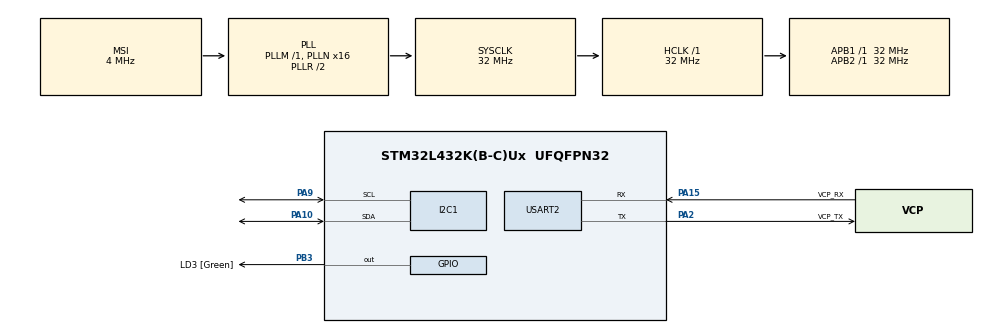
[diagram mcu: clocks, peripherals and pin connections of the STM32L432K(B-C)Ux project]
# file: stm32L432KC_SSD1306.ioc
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I2C1.Timing=0x00707CBB
Mcu.Family=STM32L4
Mcu.Name=STM32L432K(B-C)Ux
Mcu.Package=UFQFPN32
NVIC.PriorityGroup=NVIC_PRIORITYGROUP_4
PA0.GPIO_Label=MCO [High speed clock in]
PA0.Mode=HSE-External-Clock-Source-for-LittleOrca
PA0.Signal=RCC_CK_IN
PA10.Mode=I2C
PA10.Signal=I2C1_SDA
PA13\ (JTMS-SWDIO).GPIO_Label=SWDIO
PA13\ (JTMS-SWDIO).Mode=Serial_Wire
PA13\ (JTMS-SWDIO).Signal=SYS_JTMS-SWDIO
PA14\ (JTCK-SWCLK).GPIO_Label=SWCLK
PA14\ (JTCK-SWCLK).Mode=Serial_Wire
PA14\ (JTCK-SWCLK).Signal=SYS_JTCK-SWCLK
PA15\ (JTDI).GPIO_Label=VCP_RX
PA15\ (JTDI).Mode=Asynchronous
PA15\ (JTDI).Signal=USART2_RX
PA2.GPIO_Label=VCP_TX
PA2.Mode=Asynchronous
PA2.Signal=USART2_TX
PA9.Mode=I2C
PA9.Signal=I2C1_SCL
PB3\ (JTDO-TRACESWO).GPIO_Label=LD3 [Green]
PB3\ (JTDO-TRACESWO).Signal=GPIO_Output
PC14-OSC32_IN\ (PC14).Mode=LSE-External-Oscillator
PC14-OSC32_IN\ (PC14).Signal=RCC_OSC32_IN
PC15-OSC32_OUT\ (PC15).Mode=LSE-External-Oscillator
PC15-OSC32_OUT\ (PC15).Signal=RCC_OSC32_OUT
ProjectManager.HeapSize=0x200
ProjectManager.StackSize=0x400
ProjectManager.TargetToolchain=STM32CubeIDE
RCC.AHBFreq_Value=32000000
RCC.APB1Freq_Value=32000000
RCC.APB1TimFreq_Value=32000000
RCC.APB2Freq_Value=32000000
RCC.APB2TimFreq_Value=32000000
RCC.CortexFreq_Value=32000000
RCC.HCLKFreq_Value=32000000
RCC.HSE_VALUE=8000000
RCC.HSI16_VALUE=16000000
RCC.HSI48_VALUE=48000000
RCC.HSI_VALUE=16000000
RCC.MSI_VALUE=4000000
RCC.PLLMUL=RCC_PLLMUL_4
RCC.PLLN=16
RCC.SYSCLKFreq_VALUE=32000000
RCC.SYSCLKSource=RCC_SYSCLKSOURCE_PLLCLK
RCC.VCOOutputFreq_Value=64000000
USART2.VirtualMode-Asynchronous=VM_ASYNC
board=NUCLEO-L432KC

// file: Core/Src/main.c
/* USER CODE BEGIN Header */
/**
  ******************************************************************************
  * @file           : main.c
  * @brief          : Main program body
  ******************************************************************************
  * @attention
  *
  * <h2><center>&copy; Copyright (c) 2020 STMicroelectronics.
  * All rights reserved.</center></h2>
  *
  * This software component is licensed by ST under BSD 3-Clause license,
  * the "License"; You may not use this file except in compliance with the
  * License. You may obtain a copy of the License at:
  *                        opensource.org/licenses/BSD-3-Clause
  *
  ******************************************************************************
  */
/* USER CODE END Header */

#include <ssd1306_tests.h>
#include <ssd1306.h>
#include "main.h"
#include <stdbool.h>
/* USER CODE BEGIN Includes */
#include <string.h>
#include <stdio.h>
/* USER CODE END Includes */

/* USER CODE BEGIN PTD */
typedef struct{
	int height = 4;
	int width = 1;
    bool arrayBrick[height][width] = {{1,1,1,1}};
    char xCoordUnderBrick; //TrackHeight Of bottom of brick
    char yCoordLeftBrick; //Tack ypos of brick from lest side
    char rotation; //0X00=>0°  0X01=>90°  0X02=>180°  0X03=>270°
} line;

typedef struct{
	int height = 2;
	int width = 2;
	bool arrayBrick[height][width] = {{1,1}
    		                         ,{1,1}};
    char xCoordUnderBrick; //TrackHeight Of bottom of brick
    char yCoordLeftBrick; //Tack ypos of brick from lest side
    char rotation; //0X00=>0°  0X01=>90°  0X02=>180°  0X03=>270°
} square;

typedef struct{
	int height = 2;
	int width = 3;
	bool arrayBrick[height][width] = {{1,1,1}
                                     ,{0,1,0}};
    char xCoordUnderBrick; //TrackHeight Of bottom of brick
    char yCoordLeftBrick; //Tack ypos of brick from lest side
    char rotation; //0X00=>0°  0X01=>90°  0X02=>180°  0X03=>270°
} tbrick;

typedef struct{
	int height = 3;
	int width = 2;
	bool arrayBrick[height][width] = {{1,0}
    		                         ,{1,0}
                                     ,{1,1}};
    char xCoordUnderBrick; //TrackHeight Of bootom of brick
    char yCoordLeftBrick; //Tack ypos of brick from lest side
    char rotation; //0X00=>0°  0X01=>90°  0X02=>180°  0X03=>270°
} lbrick;

typedef struct{
	int height = 3;
	int width = 2;
	bool arrayBrick[height][width] = {{1,0}
    		                         ,{1,1}
                                     ,{0,1}};
    char xCoordUnderBrick; //Track Height Of bottom of brick
    char yCoordLeftBrick; //Tack ypos of brick from lest side
    char rotation; //0X00=>0°  0X01=>90°  0X02=>180°  0X03=>270°
} blitzbrick;

typedef struct{
	int bufferheight = 4;

	int height = 16 + bufferheight;
	int width = 8;
	int score = 0;
	bool playingfield[height][width] = {{0,0,0,0,0,0,0,0}  //BUFF
                                       ,{0,0,0,0,0,0,0,0}  //BUFF
                                       ,{0,0,0,0,0,0,0,0}  //BUFF
                                       ,{0,0,0,0,0,0,0,0}  //BUFF
	                                   ,{0,0,0,0,0,0,0,0}  //1
    		                           ,{0,0,0,0,0,0,0,0}  //2
                                       ,{0,0,0,0,0,0,0,0}  //3
                                       ,{0,0,0,0,0,0,0,0}  //4
	                                   ,{0,0,0,0,0,0,0,0}  //5
	                                   ,{0,0,0,0,0,0,0,0}  //6
	                                   ,{0,0,0,0,0,0,0,0}  //6
	                                   ,{0,0,0,0,0,0,0,0}  //7
	                                   ,{0,0,0,0,0,0,0,0}  //8
	                                   ,{0,0,0,0,0,0,0,0}  //9
	                                   ,{0,0,0,0,0,0,0,0}  //10
	                                   ,{0,0,0,0,0,0,0,0}  //11
		                               ,{0,0,0,0,0,0,0,0}  //12
		                               ,{0,0,0,0,0,0,0,0}  //13
		                               ,{0,0,0,0,0,0,0,0}  //14
		                               ,{0,0,0,0,0,0,0,0}  //15
		                               ,{0,0,0,0,0,0,0,0}};//16

	//For when block is beoing placed (has to do with die checking)
	bool ghostBlockField[height][width] = {{0,0,0,0,0,0,0,0}  //BUFF
                                          ,{0,0,0,0,0,0,0,0}  //BUFF
                                          ,{0,0,0,0,0,0,0,0}  //BUFF
                                          ,{0,0,0,0,0,0,0,0}  //BUFF
	                                      ,{0,0,0,0,0,0,0,0}  //1
    		                              ,{0,0,0,0,0,0,0,0}  //2
                                          ,{0,0,0,0,0,0,0,0}  //3
                                          ,{0,0,0,0,0,0,0,0}  //4
	                                      ,{0,0,0,0,0,0,0,0}  //5
	                                      ,{0,0,0,0,0,0,0,0}  //6
	                                      ,{0,0,0,0,0,0,0,0}  //6
	                                      ,{0,0,0,0,0,0,0,0}  //7
	                                      ,{0,0,0,0,0,0,0,0}  //8
	                                      ,{0,0,0,0,0,0,0,0}  //9
	                                      ,{0,0,0,0,0,0,0,0}  //10
	                                      ,{0,0,0,0,0,0,0,0}  //11
		                                  ,{0,0,0,0,0,0,0,0}  //12
		                                  ,{0,0,0,0,0,0,0,0}  //13
		                                  ,{0,0,0,0,0,0,0,0}  //14
		                                  ,{0,0,0,0,0,0,0,0}  //15
		                                  ,{0,0,0,0,0,0,0,0}};//16
} tetrisgame;
/* USER CODE END PTD */

/* USER CODE BEGIN PD */
#define SSD1306_USE_I2C
#define __DEBUG 1
#define BUFFERSIZE 100
#define I2CBUF	12
#define debug_print(x) 	do { if ( __DEBUG ) { strcpy(uartBuffer, x); HAL_UART_Transmit(&huart2, (unsigned char*) uartBuffer, strlen(uartBuffer), HAL_MAX_DELAY); }} while (0)
/* USER CODE END PD */

I2C_HandleTypeDef hi2c1;

UART_HandleTypeDef huart2;

/* USER CODE BEGIN PV */
const uint8_t SSD1306_ADDRESS = 0x3C << 1;
const uint8_t RANDOM_REG = 0x0F;

char uartBuffer[BUFFERSIZE] = "";
uint8_t I2CBuffer[I2CBUF] = {0};
HAL_StatusTypeDef returnValue = 0;

/* USER CODE END PV */

void SystemClock_Config(void);
static void MX_GPIO_Init(void);
static void MX_USART2_UART_Init(void);
static void MX_I2C1_Init(void);

int* checkline(tetrisgame);
bool checkdead(tetrisgame);

//Deze twee werken in conjunctie samen
void dropblock(tetrisgame);
void placeblock(tetrisgame);

void newblock(tetrisgame);

/* USER CODE BEGIN 0 */
void init() {
	//ssd1306_TestAll();
}
/* USER CODE END 0 */

int main(void)
{
  /* USER CODE BEGIN 1 */
	bool die = false;
	int verticalMovement = 0;
	int horizontalMovement = 0;
	char delayTime = 0; // variable for the delaytime ---> affects falling of blocks
  /* USER CODE END 1 */

  /* MCU Configuration--------------------------------------------------------*/

  /* Reset of all peripherals, Initializes the Flash interface and the Systick. */
  HAL_Init();

  /* Configure the system clock */
  SystemClock_Config();

  /* Initialize all configured peripherals */
  MX_GPIO_Init();
  MX_USART2_UART_Init();
  MX_I2C1_Init();

  /* Infinite loop */
  /* USER CODE BEGIN WHILE */
  //debug_print("Hello from STM32L432KC dev board\r\n");
  ssd1306_Init();
  //init();

      while (die=!true)
  	  {
    /* USER CODE END WHILE */

	  int verticalMovement += 10;// still needs adjusting
    /* USER CODE BEGIN 3 */
	    ssd1306_Fill(Black);
	    ssd1306_SetCursor(verticalMovement, horizontalMovement);
	    HAL_Delay(delayTime);
	    ssd1306_WriteString("[HIP,HIP]", Font_16x26, White);
	//HAL_Delay(500);
  	  }
  	  if(die == true)
  	  {

	  ssd1306_Fill(Black);

	  ssd1306_WriteString("[YOU DIED, RETURNING TO BONFIRE]", Font_16x26, White);

  	  }
  /* USER CODE END 3 */
	}

int* checkline(tetrisgame t*) {    //Error in deze lijn (yet to fix) (It's late =( )
	int linesCount = 0;
	static int lines[4]; //MaxLines met een block is 4

	for(int y = 0; i <= (&t->height)-1-bufferheight; y++) {
		for(int x = 0; i <= (&t->width)-1; x++) {
			if(&t->playingfield[x][y] == 0) { break; }
			else if (x == 7) {lines[linescount] = y; linesCount++;}
		}
	}
	return lines;
}

bool checkdead(tetrisgame t*) {    //same error
	for(int x = 0; i <= (&t->width)-1; x++) {
		if(&t->playingfield[x][15] == 1) { return 1;}
	}
	return 0;
}

void SystemClock_Config(void)
{
  RCC_OscInitTypeDef RCC_OscInitStruct = {0};
  RCC_ClkInitTypeDef RCC_ClkInitStruct = {0};
  RCC_PeriphCLKInitTypeDef PeriphClkInit = {0};

  /** Configure LSE Drive Capability
  */
  HAL_PWR_EnableBkUpAccess();
  __HAL_RCC_LSEDRIVE_CONFIG(RCC_LSEDRIVE_LOW);
  /** Initializes the CPU, AHB and APB busses clocks
  */
  RCC_OscInitStruct.OscillatorType = RCC_OSCILLATORTYPE_LSE|RCC_OSCILLATORTYPE_MSI;
  RCC_OscInitStruct.LSEState = RCC_LSE_ON;
  RCC_OscInitStruct.MSIState = RCC_MSI_ON;
  RCC_OscInitStruct.MSICalibrationValue = 0;
  RCC_OscInitStruct.MSIClockRange = RCC_MSIRANGE_6;
  RCC_OscInitStruct.PLL.PLLState = RCC_PLL_ON;
  RCC_OscInitStruct.PLL.PLLSource = RCC_PLLSOURCE_MSI;
  RCC_OscInitStruct.PLL.PLLM = 1;
  RCC_OscInitStruct.PLL.PLLN = 16;
  RCC_OscInitStruct.PLL.PLLP = RCC_PLLP_DIV7;
  RCC_OscInitStruct.PLL.PLLQ = RCC_PLLQ_DIV2;
  RCC_OscInitStruct.PLL.PLLR = RCC_PLLR_DIV2;
  if (HAL_RCC_OscConfig(&RCC_OscInitStruct) != HAL_OK)
  {
    Error_Handler();
  }
  /** Initializes the CPU, AHB and APB busses clocks
  */
  RCC_ClkInitStruct.ClockType = RCC_CLOCKTYPE_HCLK|RCC_CLOCKTYPE_SYSCLK
                              |RCC_CLOCKTYPE_PCLK1|RCC_CLOCKTYPE_PCLK2;
  RCC_ClkInitStruct.SYSCLKSource = RCC_SYSCLKSOURCE_PLLCLK;
  RCC_ClkInitStruct.AHBCLKDivider = RCC_SYSCLK_DIV1;
  RCC_ClkInitStruct.APB1CLKDivider = RCC_HCLK_DIV1;
  RCC_ClkInitStruct.APB2CLKDivider = RCC_HCLK_DIV1;

  if (HAL_RCC_ClockConfig(&RCC_ClkInitStruct, FLASH_LATENCY_1) != HAL_OK)
  {
    Error_Handler();
  }
  PeriphClkInit.PeriphClockSelection = RCC_PERIPHCLK_USART2|RCC_PERIPHCLK_I2C1;
  PeriphClkInit.Usart2ClockSelection = RCC_USART2CLKSOURCE_PCLK1;
  PeriphClkInit.I2c1ClockSelection = RCC_I2C1CLKSOURCE_PCLK1;
  if (HAL_RCCEx_PeriphCLKConfig(&PeriphClkInit) != HAL_OK)
  {
    Error_Handler();
  }
  /** Configure the main internal regulator output voltage
  */
  if (HAL_PWREx_ControlVoltageScaling(PWR_REGULATOR_VOLTAGE_SCALE1) != HAL_OK)
  {
    Error_Handler();
  }
  /** Enable MSI Auto calibration
  */
  HAL_RCCEx_EnableMSIPLLMode();
}

static void MX_I2C1_Init(void)
{

  hi2c1.Instance = I2C1;
  hi2c1.Init.Timing = 0x00707CBB;
  hi2c1.Init.OwnAddress1 = 0;
  hi2c1.Init.AddressingMode = I2C_ADDRESSINGMODE_7BIT;
  hi2c1.Init.DualAddressMode = I2C_DUALADDRESS_DISABLE;
  hi2c1.Init.OwnAddress2 = 0;
  hi2c1.Init.OwnAddress2Masks = I2C_OA2_NOMASK;
  hi2c1.Init.GeneralCallMode = I2C_GENERALCALL_DISABLE;
  hi2c1.Init.NoStretchMode = I2C_NOSTRETCH_DISABLE;
  if (HAL_I2C_Init(&hi2c1) != HAL_OK)
  {
    Error_Handler();
  }
  /** Configure Analogue filter
  */
  if (HAL_I2CEx_ConfigAnalogFilter(&hi2c1, I2C_ANALOGFILTER_ENABLE) != HAL_OK)
  {
    Error_Handler();
  }
  /** Configure Digital filter
  */
  if (HAL_I2CEx_ConfigDigitalFilter(&hi2c1, 0) != HAL_OK)
  {
    Error_Handler();
  }

}

static void MX_USART2_UART_Init(void)
{

  huart2.Instance = USART2;
  huart2.Init.BaudRate = 115200;
  huart2.Init.WordLength = UART_WORDLENGTH_8B;
  huart2.Init.StopBits = UART_STOPBITS_1;
  huart2.Init.Parity = UART_PARITY_NONE;
  huart2.Init.Mode = UART_MODE_TX_RX;
  huart2.Init.HwFlowCtl = UART_HWCONTROL_NONE;
  huart2.Init.OverSampling = UART_OVERSAMPLING_16;
  huart2.Init.OneBitSampling = UART_ONE_BIT_SAMPLE_DISABLE;
  huart2.AdvancedInit.AdvFeatureInit = UART_ADVFEATURE_NO_INIT;
  if (HAL_UART_Init(&huart2) != HAL_OK)
  {
    Error_Handler();
  }

}

static void MX_GPIO_Init(void)
{
  GPIO_InitTypeDef GPIO_InitStruct = {0};

  /* GPIO Ports Clock Enable */
  __HAL_RCC_GPIOC_CLK_ENABLE();
  __HAL_RCC_GPIOA_CLK_ENABLE();
  __HAL_RCC_GPIOB_CLK_ENABLE();

  /*Configure GPIO pin Output Level */
  HAL_GPIO_WritePin(LD3_GPIO_Port, LD3_Pin, GPIO_PIN_RESET);

  /*Configure GPIO pin : LD3_Pin */
  GPIO_InitStruct.Pin = LD3_Pin;
  GPIO_InitStruct.Mode = GPIO_MODE_OUTPUT_PP;
  GPIO_InitStruct.Pull = GPIO_NOPULL;
  GPIO_InitStruct.Speed = GPIO_SPEED_FREQ_LOW;
  HAL_GPIO_Init(LD3_GPIO_Port, &GPIO_InitStruct);

}

void Error_Handler(void)
{
}

/************************ (C) COPYRIGHT STMicroelectronics *****END OF FILE****/
